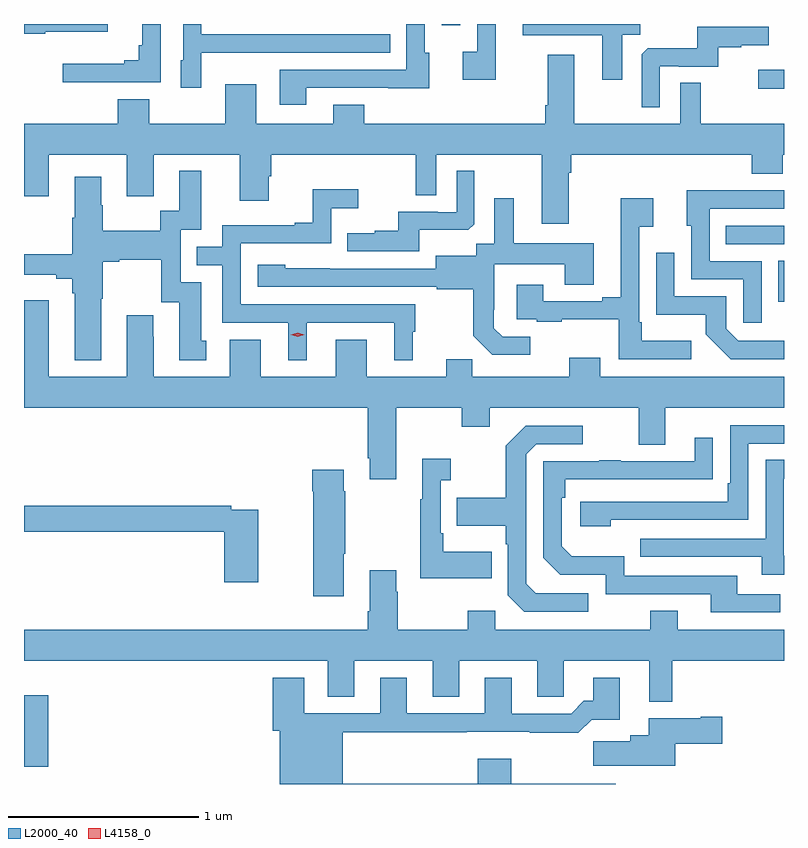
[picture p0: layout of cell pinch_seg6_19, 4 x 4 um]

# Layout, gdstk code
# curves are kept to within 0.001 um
import gdstk
lib = gdstk.Library(unit=1e-6, precision=1e-09)
def R(c, l, rs):  # rectangles x0, y0, x1, y1
    for r in rs: c.add(gdstk.rectangle(r[:2], r[2:], *l))
def P(c, l, *ps):  # polygons
    for p in ps: c.add(gdstk.Polygon(p, *l))
L2000_40 = (2000, 40)
L4158_0 = (4158, 0)

pinch_seg6_19 = lib.new_cell('pinch_seg6_19')
R(pinch_seg6_19, L2000_40, [(962.367,954.77,962.495,955.147), (966.338,957.218,966.367,957.433), (966.061,957.522,966.367,957.618), (966.231,958.34,966.367,958.438), (964.566,958.674,964.662,958.68)])
P(pinch_seg6_19, L2000_40, [(963.853,958.344),(964.283,958.344),(964.283,958.343),(964.501,958.343),(964.501,958.53),(964.476,958.53),(964.476,958.68),(964.38,958.68),(964.38,958.44),(963.713,958.44),(963.713,958.254),(963.853,958.254)],
  [(962.478,958.64),(962.809,958.64),(962.809,958.68),(962.367,958.68),(962.367,958.63),(962.478,958.63)],
  [(963.087,958.68),(962.99,958.68),(962.99,958.567),(962.971,958.567),(962.971,958.49),(962.894,958.49),(962.894,958.471),(962.571,958.471),(962.571,958.374),(963.087,958.374)],
  [(964.849,958.68),(964.752,958.68),(964.752,958.534),(964.677,958.534),(964.677,958.386),(964.849,958.386)],
  [(965.515,958.624),(965.61,958.624),(965.61,958.68),(964.991,958.68),(964.991,958.622),(965.411,958.622),(965.411,958.386),(965.515,958.386)],
  [(963.3,958.529),(963.617,958.529),(963.617,958.53),(964.295,958.53),(964.295,958.626),(963.3,958.626),(963.3,958.68),(963.204,958.68),(963.204,958.488),(963.191,958.488),(963.191,958.344),(963.3,958.344)],
  [(965.712,958.458),(965.812,958.458),(965.812,958.455),(966.02,958.455),(966.02,958.557),(966.143,958.557),(966.143,958.568),(966.287,958.568),(966.287,958.665),(965.91,958.665),(965.91,958.553),(965.651,958.553),(965.619,958.521),(965.619,958.241),(965.712,958.241)],
  [(964.159,958.255),(963.995,958.255),(963.995,958.156),(963.589,958.156),(963.589,958.363),(963.425,958.363),(963.425,958.156),(963.025,958.156),(963.025,958.285),(962.861,958.285),(962.861,958.156),(962.367,958.156),(962.367,957.774),(962.497,957.774),(962.497,957.992),(962.909,957.992),(962.909,957.774),(963.049,957.774),(963.049,957.992),(963.503,957.992),(963.503,957.75),(963.655,957.75),(963.655,957.879),(963.668,957.879),(963.668,957.992),(964.428,957.992),(964.428,957.778),(964.536,957.778),(964.536,957.992),(965.093,957.992),(965.093,957.63),(965.233,957.63),(965.233,957.896),(965.246,957.896),(965.246,957.992),(966.197,957.992),(966.197,957.893),(966.361,957.893),(966.361,957.992),(966.367,957.992),(966.367,958.156),(965.929,958.156),(965.929,958.37),(965.82,958.37),(965.82,958.156),(965.263,958.156),(965.263,958.519),(965.123,958.519),(965.123,958.252),(965.111,958.252),(965.111,958.156),(964.159,958.156)],
  [(964.447,957.596),(964.705,957.596),(964.737,957.627),(964.737,957.907),(964.644,957.907),(964.644,957.69),(964.544,957.69),(964.544,957.693),(964.337,957.693),(964.337,957.592),(964.213,957.592),(964.213,957.58),(964.069,957.58),(964.069,957.483),(964.447,957.483)],
  [(962.773,957.235),(962.781,957.235),(962.781,957.428),(962.869,957.428),(962.869,957.44),(963.089,957.44),(963.089,957.216),(963.185,957.216),(963.185,956.91),(963.325,956.91),(963.325,957.012),(963.301,957.012),(963.301,957.321),(963.192,957.321),(963.192,957.597),(963.301,957.597),(963.301,957.907),(963.185,957.907),(963.185,957.698),(963.084,957.698),(963.084,957.592),(962.781,957.592),(962.781,957.726),(962.773,957.726),(962.773,957.877),(962.633,957.877),(962.633,957.659),(962.621,957.659),(962.621,957.469),(962.367,957.469),(962.367,957.359),(962.537,957.359),(962.537,957.34),(962.621,957.34),(962.621,957.263),(962.633,957.263),(962.633,956.909),(962.773,956.909)],
  [(963.856,957.108),(964.316,957.108),(964.316,956.909),(964.414,956.909),(964.414,957.06),(964.426,957.06),(964.426,957.204),(963.507,957.204),(963.507,957.525),(963.984,957.525),(963.984,957.71),(964.126,957.71),(964.126,957.809),(963.886,957.809),(963.886,957.634),(963.791,957.634),(963.791,957.621),(963.411,957.621),(963.411,957.507),(963.277,957.507),(963.277,957.411),(963.411,957.411),(963.411,957.108),(963.758,957.108),(963.758,956.909),(963.856,956.909)],
  [(966.249,957.432),(965.976,957.432),(965.976,957.708),(966.367,957.708),(966.367,957.804),(966.073,957.804),(966.073,957.806),(965.855,957.806),(965.855,957.618),(965.88,957.618),(965.88,957.336),(966.153,957.336),(966.153,957.108),(966.249,957.108)],
  [(965.878,957.013),(965.617,957.013),(965.617,957.109),(965.604,957.109),(965.604,957.614),(965.68,957.614),(965.68,957.763),(965.507,957.763),(965.507,957.241),(965.411,957.241),(965.411,957.222),(965.101,957.222),(965.101,957.307),(964.961,957.307),(964.961,957.126),(965.065,957.126),(965.065,957.114),(965.197,957.114),(965.197,957.125),(965.496,957.125),(965.496,956.916),(965.878,956.916)],
  [(965.032,957.033),(964.887,957.033),(964.84,957.08),(964.84,957.175),(964.842,957.175),(964.842,957.416),(965.213,957.416),(965.213,957.307),(965.365,957.307),(965.365,957.526),(964.945,957.526),(964.945,957.763),(964.841,957.763),(964.841,957.524),(964.746,957.524),(964.746,957.46),(964.535,957.46),(964.535,957.393),(963.741,957.394),(963.741,957.412),(963.597,957.412),(963.597,957.297),(964.539,957.297),(964.539,957.285),(964.731,957.285),(964.731,957.039),(964.831,956.939),(965.032,956.939)],
  [(966.367,957.014),(966.35,957.014),(966.35,957.012),(966.126,957.012),(966.063,957.075),(966.063,957.246),(965.79,957.246),(965.79,957.475),(965.694,957.475),(965.694,957.149),(965.956,957.149),(965.956,957.047),(966.086,956.916),(966.367,956.916)],
  [(964.327,956.66),(964.672,956.66),(964.672,956.561),(964.819,956.561),(964.819,956.66),(965.603,956.66),(965.603,956.466),(965.743,956.466),(965.743,956.66),(966.367,956.66),(966.367,956.824),(965.401,956.824),(965.401,956.923),(965.237,956.923),(965.237,956.824),(964.727,956.824),(964.727,956.915),(964.589,956.915),(964.589,956.824),(964.171,956.824),(964.171,957.019),(964.007,957.019),(964.007,956.824),(963.613,956.824),(963.613,957.019),(963.449,957.019),(963.449,956.824),(963.049,956.824),(963.049,957.035),(963.046,957.035),(963.046,957.148),(962.909,957.148),(962.909,956.824),(962.497,956.824),(962.497,957.226),(962.367,957.226),(962.367,956.66),(964.175,956.66),(964.175,956.395),(964.187,956.395),(964.187,956.283),(964.327,956.283)],
  [(965.456,956.07),(966.18,956.07),(966.18,956.472),(966.367,956.472),(966.367,956.568),(966.084,956.568),(966.084,956.263),(966.071,956.263),(966.071,956.166),(965.295,956.166),(965.295,956.036),(965.456,956.036)],
  [(965.338,955.683),(965.061,955.683),(965.01,955.734),(965.01,956.415),(965.064,956.469),(965.308,956.469),(965.308,956.565),(965.007,956.565),(964.902,956.459),(964.902,956.187),(964.645,956.187),(964.645,956.039),(964.902,956.039),(964.902,955.943),(964.914,955.943),(964.914,955.674),(965.001,955.587),(965.338,955.587)],
  [(966.346,955.68),(966.121,955.68),(966.121,955.776),(965.526,955.776),(965.526,955.879),(965.249,955.879),(965.196,955.932),(965.196,956.186),(965.216,956.186),(965.216,956.283),(965.993,956.284),(965.993,956.503),(965.897,956.503),(965.897,956.379),(965.507,956.379),(965.507,956.384),(965.395,956.384),(965.395,956.379),(965.1,956.379),(965.1,955.872),(965.19,955.782),(965.43,955.782),(965.43,955.68),(965.981,955.68),(965.981,955.584),(966.346,955.584)],
  [(964.829,955.903),(964.573,955.903),(964.573,955.999),(964.56,955.999),(964.56,956.279),(964.612,956.279),(964.612,956.392),(964.463,956.392),(964.463,956.179),(964.452,956.179),(964.452,955.763),(964.829,955.763)],
  [(966.367,955.881),(966.366,955.881),(966.366,956.286),(966.367,956.286),(966.367,956.387),(966.27,956.387),(966.27,955.971),(965.611,955.971),(965.611,955.875),(966.251,955.875),(966.251,955.781),(966.367,955.781)],
  [(964.051,955.891),(964.059,955.891),(964.059,956.222),(964.051,956.222),(964.051,956.335),(963.884,956.335),(963.884,956.222),(963.889,956.222),(963.889,955.668),(964.051,955.668)],
  [(963.6,956.124),(963.458,956.124),(963.458,956.144),(962.367,956.144),(962.367,956.008),(963.422,956.008),(963.422,955.743),(963.6,955.743)],
  [(965.779,955.328),(966.367,955.328),(966.367,955.492),(965.809,955.492),(965.809,955.591),(965.662,955.591),(965.662,955.492),(964.848,955.492),(964.848,955.591),(964.702,955.591),(964.702,955.492),(964.335,955.492),(964.335,955.691),(964.327,955.691),(964.327,955.804),(964.187,955.804),(964.187,955.588),(964.175,955.588),(964.175,955.492),(962.367,955.492),(962.367,955.328),(963.965,955.328),(963.965,955.138),(964.105,955.138),(964.105,955.328),(964.517,955.328),(964.517,955.138),(964.657,955.138),(964.657,955.328),(965.069,955.328),(965.069,955.138),(965.208,955.138),(965.208,955.328),(965.657,955.328),(965.657,955.112),(965.779,955.112)],
  [(965.482,954.682),(964.932,954.682),(964.932,954.814),(964.754,954.814),(964.754,954.682),(964.045,954.682),(964.045,954.952),(964.697,954.952),(964.697,954.956),(965.029,954.956),(965.029,954.95),(965.285,954.95),(965.354,955.019),(965.503,955.019),(965.503,955.24),(965.363,955.24),(965.363,955.117),(965.314,955.117),(965.247,955.05),(964.933,955.05),(964.933,955.24),(964.793,955.24),(964.793,955.053),(964.381,955.053),(964.381,955.24),(964.241,955.24),(964.241,955.053),(963.841,955.053),(963.841,955.24),(963.677,955.24),(963.677,954.96),(963.713,954.96),(963.713,954.68),(965.482,954.68)],
  [(965.794,954.893),(966.043,954.893),(966.043,955.035),(965.93,955.035),(965.93,955.027),(965.654,955.027),(965.654,954.937),(965.558,954.937),(965.558,954.905),(965.364,954.905),(965.364,954.776),(965.794,954.776)])
P(pinch_seg6_19, L4158_0, [(963.807,957.035),(963.771,957.044),(963.771,957.045),(963.771,957.045),(963.807,957.055),(963.843,957.045),(963.843,957.045),(963.843,957.044)])

lib.write_gds('pinch_seg6_19.gds')
